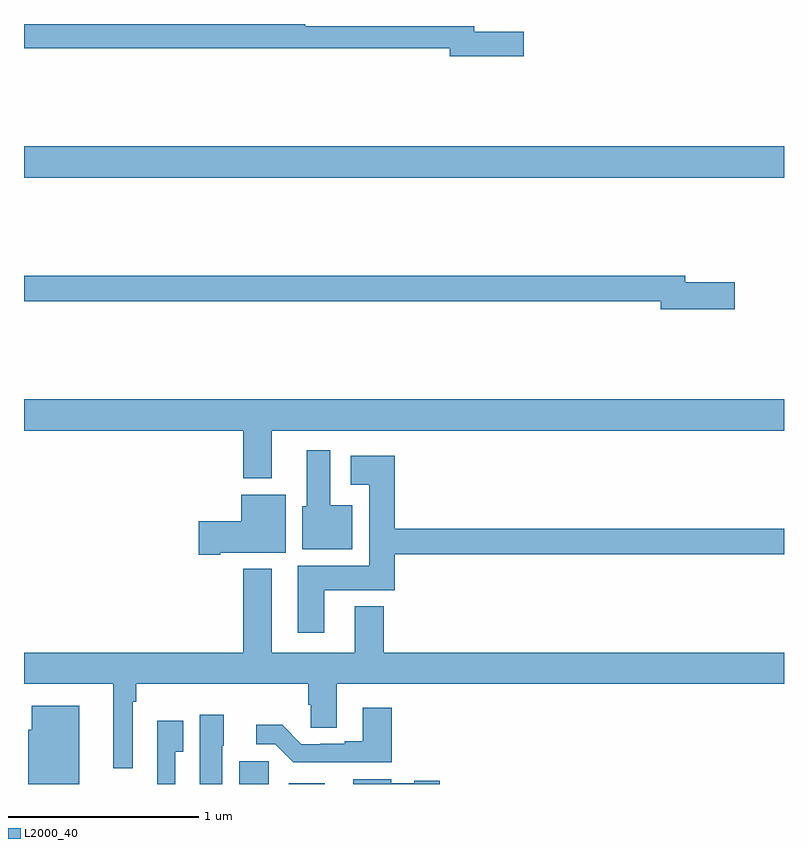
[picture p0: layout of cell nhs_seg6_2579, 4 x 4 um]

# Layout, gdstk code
import gdstk
lib = gdstk.Library(unit=1e-6, precision=1e-09)
def R(c, l, rs):  # rectangles x0, y0, x1, y1
    for r in rs: c.add(gdstk.rectangle(r[:2], r[2:], *l))
def P(c, l, *ps):  # polygons
    for p in ps: c.add(gdstk.Polygon(p, *l))
L2000_40 = (2000, 40)

nhs_seg6_2579 = lib.new_cell('nhs_seg6_2579')
R(nhs_seg6_2579, L2000_40, [(266.132,921.5,266.288,921.621), (266.394,921.5,266.584,921.505), (265,924.692,269,924.856)])
P(nhs_seg6_2579, L2000_40, [(267.631,925.459),(267.37,925.459),(267.37,925.488),(266.48,925.488),(266.48,925.5),(265,925.5),(265,925.372),(267.242,925.372),(267.242,925.33),(267.631,925.33)],
  [(268.741,924.14),(268.48,924.14),(268.48,924.176),(265,924.176),(265,924.04),(268.352,924.04),(268.352,923.998),(268.741,923.998)],
  [(266.305,923.36),(269,923.36),(269,923.524),(265,923.524),(265,923.36),(266.153,923.36),(266.153,923.108),(266.305,923.108)],
  [(266.728,922.966),(266.611,922.966),(266.611,923.257),(266.489,923.257),(266.489,922.962),(266.465,922.962),(266.465,922.736),(266.728,922.736)],
  [(266.581,922.52),(266.951,922.52),(266.951,922.708),(269,922.708),(269,922.844),(266.951,922.844),(266.951,923.227),(266.721,923.227),(266.721,923.075),(266.816,923.075),(266.816,922.648),(266.441,922.648),(266.441,922.296),(266.581,922.296)],
  [(266.032,922.718),(266.377,922.718),(266.377,923.023),(266.144,923.023),(266.144,922.884),(265.92,922.884),(265.92,922.706),(266.032,922.706)],
  [(265.573,921.932),(265.591,921.932),(265.591,922.028),(266.495,922.028),(266.495,921.918),(266.508,921.918),(266.508,921.796),(266.647,921.796),(266.647,922.028),(269,922.028),(269,922.192),(266.894,922.192),(266.894,922.435),(266.741,922.435),(266.741,922.192),(266.305,922.192),(266.305,922.633),(266.153,922.633),(266.153,922.192),(265,922.192),(265,922.028),(265.469,922.028),(265.469,921.584),(265.573,921.584)],
  [(265.291,921.913),(265.04,921.913),(265.04,921.786),(265.022,921.786),(265.022,921.5),(265.291,921.5)],
  [(266.936,921.901),(266.783,921.901),(266.783,921.724),(266.687,921.724),(266.687,921.711),(266.56,921.711),(266.56,921.708),(266.46,921.708),(266.358,921.811),(266.223,921.811),(266.223,921.708),(266.322,921.708),(266.416,921.614),(266.936,921.614)],
  [(266.044,921.702),(266.05,921.702),(266.05,921.865),(265.925,921.865),(265.925,921.5),(266.044,921.5)],
  [(265.797,921.671),(265.837,921.671),(265.837,921.832),(265.701,921.832),(265.701,921.5),(265.797,921.5)],
  [(267.187,921.518),(267.054,921.518),(267.054,921.505),(266.934,921.505),(266.934,921.526),(266.732,921.526),(266.732,921.5),(267.187,921.5)])

lib.write_gds('nhs_seg6_2579.gds')
